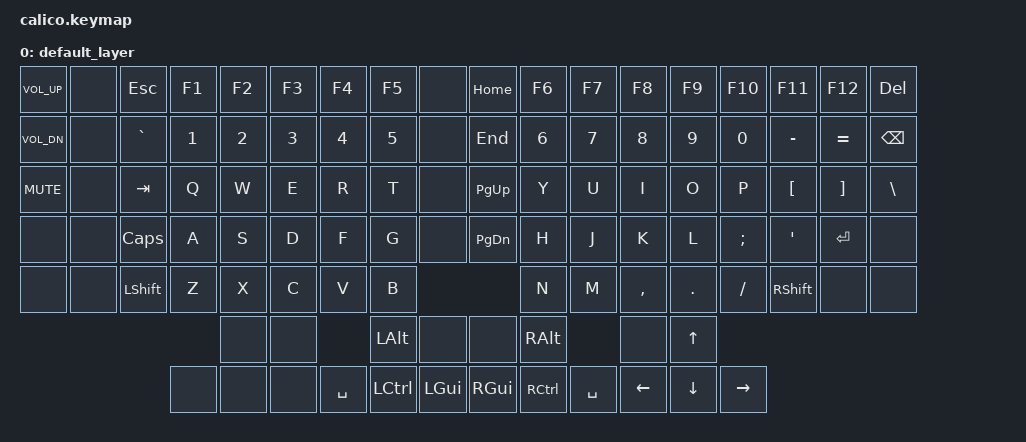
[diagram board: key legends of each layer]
// This file was generated from a template. Edit it to match your keyboard.
// See https://zmk.dev/docs/development/hardware-integration/new-shield for more instructions.

#include <behaviors.dtsi>
#include <dt-bindings/zmk/keys.h>

/ {
    // Define a default keymap here.
    // See https://zmk.dev/docs/development/hardware-integration/new-shield#default-keymap.
    keymap {
        compatible = "zmk,keymap";

        default_layer {
            bindings = <
                &kp C_VOL_UP &none &kp ESC   &kp F1 &kp F2 &kp F3 &kp F4    &kp F5    &none          &kp HOME  &kp F6    &kp F7    &kp F8     &kp F9     &kp F10   &kp F11   &kp F12   &kp DEL
                &kp C_VOL_DN &none &kp GRAVE &kp N1 &kp N2 &kp N3 &kp N4    &kp N5    &none          &kp END   &kp N6    &kp N7    &kp N8     &kp N9     &kp N0    &kp MINUS &kp EQUAL &kp BACKSPACE
                &kp C_MUTE   &none &kp TAB   &kp Q  &kp W  &kp E  &kp R     &kp T     &none          &kp PG_UP &kp Y     &kp U     &kp I      &kp O      &kp P     &kp LBKT  &kp RBKT  &kp BACKSLASH
                &none        &none &kp CAPS  &kp A  &kp S  &kp D  &kp F     &kp G     &none          &kp PG_DN &kp H     &kp J     &kp K      &kp L      &kp SEMI  &kp SQT   &kp ENTER &none
                &none        &none &kp LSHFT &kp Z  &kp X  &kp C  &kp V     &kp B                              &kp N     &kp M     &kp COMMA  &kp PERIOD &kp SLASH &kp RSHFT &none     &none 
                                                    &none  &none            &kp LALT  &none          &none     &kp RALT            &none      &kp UP 
                                             &none  &none  &none  &kp SPACE &kp LCTRL &kp LGUI       &kp RGUI  &kp RCTRL &kp SPACE &kp LEFT   &kp DOWN   &kp RIGHT
            >;
        };
    };
};
